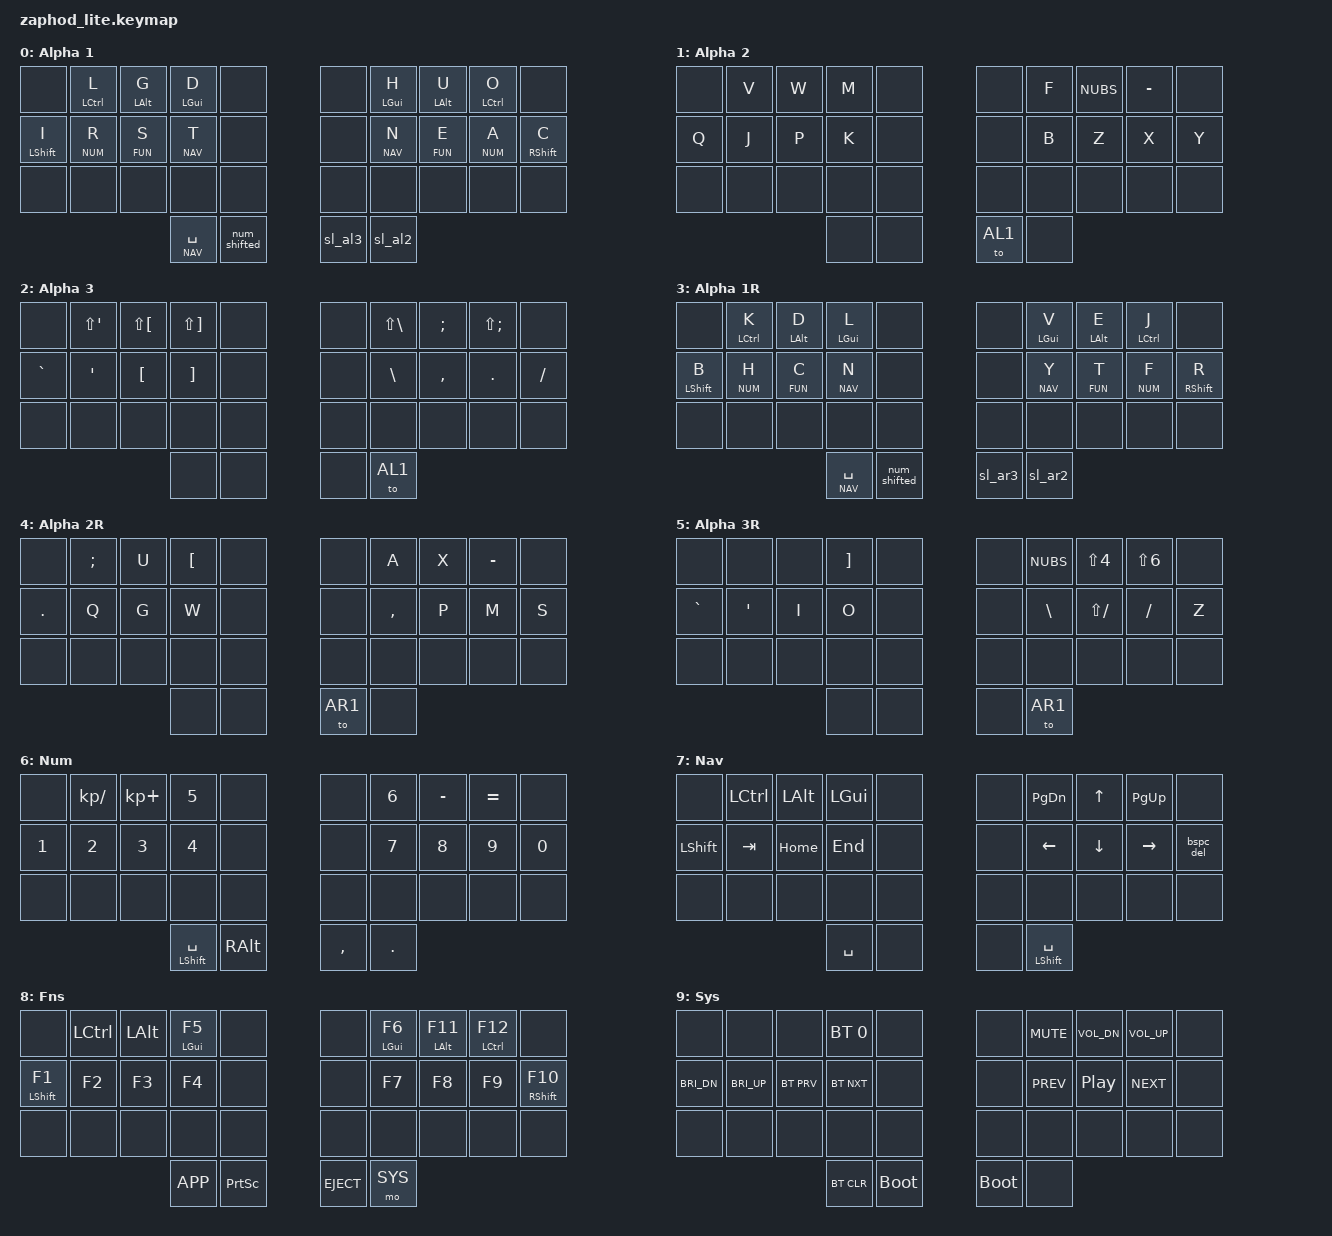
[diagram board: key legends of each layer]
/*
 * Copyright (c) 2021 Pete Johanson
 *
 * SPDX-License-Identifier: MIT
 */

#include <behaviors.dtsi>
#include <dt-bindings/zmk/keys.h>
#include <dt-bindings/zmk/bt.h>
#include <dt-bindings/zmk/outputs.h>

// Layers
#define AL1   0
#define AL2   1
#define AL3   2
#define AR1   3
#define AR2   4
#define AR3   5
#define NUM   6
#define NAV   7
#define FUN   8
#define SYS   9

#define LEFT_HALF 0 1 2 3 4 10 11 12 13 14 20 21 22 23 24 
#define RIGHT_HALF 5 6 7 8 9 15 16 17 18 19 25 26 27 28 29
#define THUMBS    30 31 32 33

// Bindings
#define _____ &none
#define TAPPING_TERM 300  // tapping-term-ms = <300>;
#define QUICK_TAP_TERM 250  // tapping-term-ms = <300>;
#define COMBO_TIMEOUT_2 30  // timeout-ms for 2 fingers cofbos
#define COMBO_TIMEOUT_3 60  // timeout-ms for 2 fingers combos

&mt {
    tapping-term-ms = <200>;
    flavor = "tap-preferred";
 };
&sk {
    release-after-ms = <1000>;
    quick-release;
};
// &lt {
//     tapping-term-ms = <200>;
//     flavor = "tap-preferred";
//  };

/ {
combos {
    compatible = "zmk,combos";
    to_eng { 
        bindings = <&to_eng>;
        key-positions = <11 12 13>;
        timeout-ms = < COMBO_TIMEOUT_3 >;
        layers = < AL1 AR1 NUM >;
    };
    to_rus {
        bindings = <&to_rus>;
        key-positions = <16 17 18>;
        timeout-ms = < COMBO_TIMEOUT_3 >;
        layers = < AL1 AR1 NUM >;
    };
    to_num {
        bindings = <&to NUM>;
        key-positions = <6 7 8>;
        timeout-ms = < COMBO_TIMEOUT_3 >;
        layers = < AL1 AR1 >;
    };

    lock {
        bindings = <&to_eng_lock>;
        key-positions = < 1 3 >;
        timeout-ms = < COMBO_TIMEOUT_2 >;
        layers = < AL1 AR1 >;
    };
    alt_esc {
        bindings = <&kp LA(ESC)>;
        key-positions = <11 12>;
        timeout-ms = < COMBO_TIMEOUT_2 >;
        layers = < AL1 AR1 >;
    };
    nav_shift_alt_esc {
        bindings = <&kp LS(LA(ESC))>;
        key-positions = <11 12>;
        timeout-ms = < COMBO_TIMEOUT_3 >;
        layers = < NAV >;
    };

    copy_cut {
        bindings = <&td_copy_cut>;
        key-positions = <11 13>;
        timeout-ms = < COMBO_TIMEOUT_2 >;
        layers = < AL1 AR1 >;
    };
    paste {
        bindings = <&kp LC(V)>;
        key-positions = <12 13>;
        timeout-ms = < COMBO_TIMEOUT_2 >;
        layers = < AL1 AR1 >;
    };
    undo {
        bindings = <&kp LC(Z)>;
        key-positions = <10 13>;
        timeout-ms = < COMBO_TIMEOUT_2 >;
        layers = < AL1 AR1 >;
    };
    nav_shift_undo {
        bindings = <&kp LS(LC(Z))>;
        key-positions = <10 13>;
        timeout-ms = < COMBO_TIMEOUT_3 >;
        layers = < NAV >;
    };
    nav_select_all {
        bindings = <&kp LC(A)>;
        key-positions = <11 13>;
        timeout-ms = < COMBO_TIMEOUT_3 >;
        layers = < NAV >;
    };

    escape {
        bindings = <&kp ESC>;
        key-positions = <7 8>;
        timeout-ms = < COMBO_TIMEOUT_2 >;
        layers = < AL1 AR1 >;
    };
    escape_left {
        bindings = <&kp ESC>;
        key-positions = <1 2>;
        timeout-ms = < COMBO_TIMEOUT_2 >;
        layers = < AL1 AR1 >;
    };
    enter {
        bindings = <&kp ENTER>;
        key-positions = <17 18>;
        timeout-ms = < COMBO_TIMEOUT_2 >;
        layers = < AL1 AR1 >;
    };
    nav_enter {
        bindings = <&kp ENTER>;
        key-positions = <10 11>;
        timeout-ms = < COMBO_TIMEOUT_3 >;
        layers = < NAV >;
    };
    backspace {
        bindings = <&bspc_del>;
        key-positions = <16 17>;
        timeout-ms = < COMBO_TIMEOUT_2 >;
        layers = < AL1 AR1 >;
    };
    delete {
        bindings = <&kp DEL>;
        key-positions = <18 19>;
        timeout-ms = < COMBO_TIMEOUT_2 >;
        layers = < AL1 AR1 >;
    };
    nav_backspace {
        bindings = <&bspc_del>;
        key-positions = <12 13>;
        timeout-ms = < COMBO_TIMEOUT_2 >;
        layers = < NAV >;
    };
    tab {
        bindings = <&kp TAB>;
        key-positions = <6 7>;
        timeout-ms = < COMBO_TIMEOUT_2 >;
        layers = < AL1 AR1 >;
    };
    tab_left {
        bindings = <&kp TAB>;
        key-positions = <2 3>;
        timeout-ms = < COMBO_TIMEOUT_2 >;
        layers = < AL1 AR1 >;
    };
};

macros {
    num_shifted: num_shifted {
        label = "num_shifted";
        compatible = "zmk,behavior-macro";
        #binding-cells = <0>;
        wait-ms = <0>;
        bindings =
            <&macro_press>,
            <&mo NUM &kp LSHFT>,
            <&macro_pause_for_release>,
            <&macro_release>,
            <&mo NUM &kp LSHFT>;
        };

    to_eng: to_eng {
        label = "to_eng";
        compatible = "zmk,behavior-macro";
        #binding-cells = <0>;
        bindings = <&to AL1 &kp LC(LS(N1))>;
    };
    to_eng_lock: to_eng_lock {
        label = "to_eng_lock";
        compatible = "zmk,behavior-macro";
        #binding-cells = <0>;
        bindings = <&to AL1 &kp LC(LS(N1)) &kp LG(L)>;
    };
    to_rus: to_rus {
        label = "to_rus";
        compatible = "zmk,behavior-macro";
        #binding-cells = <0>;
        bindings = <&to AR1 &kp LC(LS(N3))>;
    };
    sl_al2: sl_al2 {
        label = "sl_al2";
        compatible = "zmk,behavior-macro";
        #binding-cells = <0>;
        wait-ms = <0>;
        bindings = <&sl AL2>;
    };
    sl_al3: sl_al3 {
        label = "sl_al3";
        compatible = "zmk,behavior-macro";
        #binding-cells = <0>;
        wait-ms = <0>;
        bindings = <&sl AL3>;
    };
    sl_ar2: sl_ar2 {
        label = "sl_ar2";
        compatible = "zmk,behavior-macro";
        #binding-cells = <0>;
        wait-ms = <0>;
        bindings = <&sl AR2>;
    };
    sl_ar3: sl_ar3 {
        label = "sl_ar3";
        compatible = "zmk,behavior-macro";
        #binding-cells = <0>;
        wait-ms = <0>;
        bindings = <&sl AR3>;
    };
};

behaviors {
    mtl: homerow_mods_left {
        compatible = "zmk,behavior-hold-tap";
        label = "HOMEROW_MODS_LEFT";
        #binding-cells = <2>;
        tapping-term-ms = < TAPPING_TERM >;
        quick-tap-ms = < QUICK_TAP_TERM >;
        flavor = "tap-preferred";
        // flavor = "balanced";
        bindings = <&kp>, <&kp>;
        hold-trigger-key-positions = < RIGHT_HALF THUMBS >;    // <---[[right-hand keys]]
    };
    mtr: homerow_mods_right {
        compatible = "zmk,behavior-hold-tap";
        label = "HOMEROW_MODS_RIGHT";
        #binding-cells = <2>;
        tapping-term-ms = < TAPPING_TERM >;
        quick-tap-ms = < QUICK_TAP_TERM >;
        flavor = "tap-preferred";
        // flavor = "balanced";
        bindings = <&kp>, <&kp>;
        hold-trigger-key-positions = < LEFT_HALF THUMBS >;    // <---[[left-hand keys]]
    };
    mol: homerow_layers_left {
        compatible = "zmk,behavior-hold-tap";
        label = "HOMEROW_LAYERS_LEFT";
        #binding-cells = <2>;
        tapping-term-ms = < TAPPING_TERM >;
        quick-tap-ms = < QUICK_TAP_TERM >;
        flavor = "tap-preferred";
        // flavor = "balanced";
        bindings = <&mo>, <&kp>;
        hold-trigger-key-positions = < RIGHT_HALF THUMBS >;    // <---[[right-hand keys]]
    };
    mor: homerow_layers_right {
        compatible = "zmk,behavior-hold-tap";
        label = "HOMEROW_LAYERS_RIGHT";
        #binding-cells = <2>;
        tapping-term-ms = < TAPPING_TERM >;
        quick-tap-ms = < QUICK_TAP_TERM >;
        flavor = "tap-preferred";
        // flavor = "balanced";
        bindings = <&mo>, <&kp>;
        hold-trigger-key-positions = < LEFT_HALF THUMBS >;    // <---[[left-hand keys]]
    };
    td_copy_cut: tap_dance_copy_cut {
        compatible = "zmk,behavior-tap-dance";
        label = "TAP_DANCE_COPY_CUT";
        #binding-cells = <0>;
        tapping-term-ms = <300>;
        bindings = <&kp LC(C)>, <&kp LC(X)>;
    };
    bspc_del: backspace_delete {
        compatible = "zmk,behavior-mod-morph";
        label = "BACKSPACE_DELETE";
        #binding-cells = <0>;
        bindings = <&kp BACKSPACE>, <&kp DELETE>;
        mods = <(MOD_LSFT|MOD_RSFT)>;
    };
};

keymap {
    compatible = "zmk,keymap";

// ======================================================================= ALPHA =======================================================================================
alpha1 {
    label = "Alpha 1";
    bindings = <
    _____             &mtl LCTL L        &mtl LALT G   &mtl LGUI D   _____            _____        &mtr LGUI H       &mtr LALT U     &mtr LCTL O      _____  
    &mtl LSHFT I      &mol NUM R         &mol FUN S    &mol NAV T    _____            _____        &mor NAV N        &mor FUN E      &mor NUM A       &mtr RSHFT C
    _____             _____              _____         _____         _____            _____        _____             _____           _____            _____
                                                       &lt NAV SPC   &num_shifted     &sl_al3      &sl_al2
    >;
};
alpha2 {
    label = "Alpha 2";
    bindings = <
    _____             &kp V              &kp W         &kp M         _____            _____        &kp F             &kp NUBS        &kp MINUS        _____
    &kp Q             &kp J              &kp P         &kp K         _____            _____        &kp B             &kp Z           &kp X            &kp Y
    _____             _____              _____         _____         _____            _____        _____             _____           _____            _____
                                                       _____         _____            &to AL1      _____
    >;
};
alpha3 {
    label = "Alpha 3";
    bindings = <
    _____             &kp LS(SQT)        &kp LS(LBKT)  &kp LS(RBKT)  _____            _____        &kp LS(BSLH)      &kp SEMI        &kp LS(SEMI)     _____
    &kp GRAVE         &kp SQT            &kp LBKT      &kp RBKT      _____            _____        &kp BSLH          &kp COMMA       &kp DOT          &kp FSLH
    _____             _____              _____         _____         _____            _____        _____             _____           _____            _____
                                                       _____         _____            _____        &to AL1 
    >;
};

// ======================================================================= ALPHA RUS =======================================================================================

alpha1rus {
    label = "Alpha 1R";
    bindings = <
    _____             &mtl LCTL K        &mtl LALT D   &mtl LGUI L   _____            _____        &mtr LGUI V       &mtr LALT E     &mtr LCTL J      _____
    &mtl LSHFT B      &mol NUM H         &mol FUN C    &mol NAV N    _____            _____        &mor NAV Y        &mor FUN T      &mor NUM F       &mtr RSHFT R
    _____             _____              _____         _____         _____            _____        _____             _____           _____            _____
                                                       &lt NAV SPC   &num_shifted     &sl_ar3      &sl_ar2
    >;
};
alpha2rus {
    label = "Alpha 2R";
    bindings = <
    _____             &kp SEMI           &kp U         &kp LBKT      _____            _____        &kp A             &kp X           &kp MINUS        _____
    &kp DOT           &kp Q              &kp G         &kp W         _____            _____        &kp COMMA         &kp P           &kp M            &kp S
    _____             _____              _____         _____         _____            _____        _____             _____           _____            _____
                                                       _____         _____            &to AR1      _____
    >;
};
alpha3rus {
    label = "Alpha 3R";
    bindings = <
    _____             _____              _____         &kp RBKT      _____            _____        &kp NUBS          &kp LS(N4)      &kp LS(N6)       _____
    &kp GRAVE         &kp SQT            &kp I         &kp O         _____            _____        &kp BSLH          &kp LS(FSLH)    &kp FSLH         &kp Z
    _____             _____              _____         _____         _____            _____        _____             _____           _____            _____
                                                       _____         _____            _____        &to AR1 
    >;
};

// ======================================================================= ADDINIONAL =======================================================================================

numbers {
    label = "Num";
    bindings = <
    _____          &kp KP_DIVIDE     &kp KP_PLUS       &kp N5        _____            _____        &kp N6            &kp MINUS       &kp EQUAL        _____
    &kp N1         &kp N2            &kp N3            &kp N4        _____            _____        &kp N7            &kp N8          &kp N9           &kp N0
    _____          _____             _____             _____         _____            _____        _____             _____           _____            _____
                                                       &mt LSHFT SPC &kp RALT         &kp COMMA    &kp DOT
    >;
};

navigation {
    label = "Nav";
    bindings = <
    _____             &kp LCTL           &kp LALT      &kp LGUI      _____            _____        &kp PG_DN         &kp UP          &kp PG_UP        _____
    &kp LSHFT         &kp TAB            &kp HOME      &kp END       _____            _____        &kp LEFT          &kp DOWN        &kp RIGHT        &bspc_del
    _____             _____              _____         _____         _____            _____        _____             _____           _____            _____
                                                       &kp SPC       _____            _____        &mt LSHFT SPC
    >;
};

function {
    label = "Fns";
    bindings = <
    _____             &kp LCTL           &kp LALT      &mtl LGUI F5  _____            _____        &mtr LGUI F6      &mtr LALT F11   &mtr LCTL F12    _____
    &mtl LSHFT F1     &kp F2             &kp F3        &kp F4        _____            _____        &kp F7            &kp F8          &kp F9           &mtr RSHFT F10
    _____             _____              _____         _____         _____            _____        _____             _____           _____            _____
                                                       &kp K_APP     &kp PRINTSCREEN  &kp C_EJECT  &mo SYS
    >;
};
system {
    label = "Sys";
    bindings = <
    _____             _____              _____         &bt BT_SEL 0  _____            _____        &kp C_MUTE        &kp C_VOL_DN    &kp C_VOL_UP     _____
    &kp C_BRI_DN      &kp C_BRI_UP       &bt BT_PRV    &bt BT_NXT    _____            _____        &kp C_PREV        &kp C_PP        &kp C_NEXT       _____
    _____             _____              _____         _____         _____            _____        _____             _____           _____            _____
                                                       &bt BT_CLR    &bootloader      &bootloader  _____                                                                      
    >;
};
    };
};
